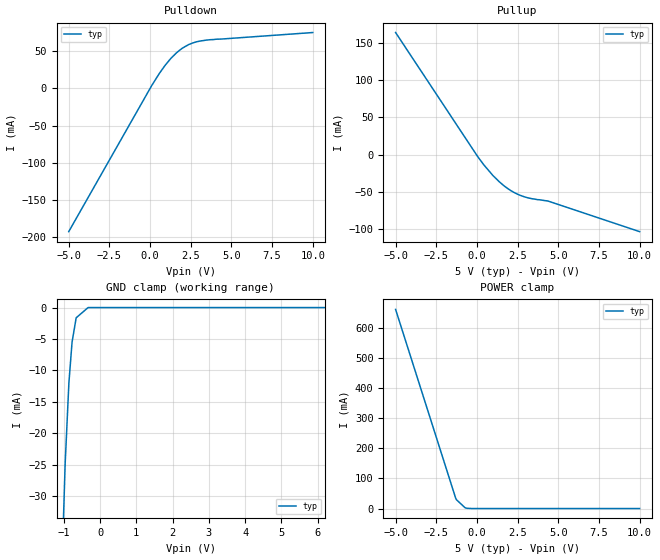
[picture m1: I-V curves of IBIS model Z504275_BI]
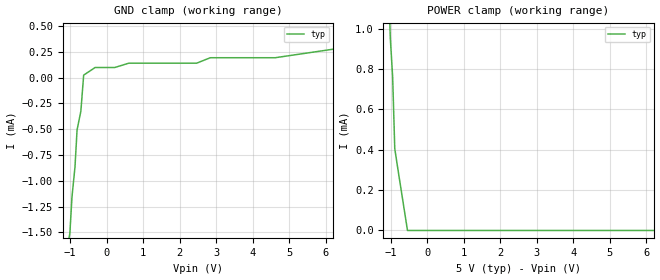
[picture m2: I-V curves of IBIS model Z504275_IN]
| YOU ARE ONLY AUTHORIZED TO USE THIS SOFTWARE
| ACCORDING TO LICENSOR'S LICENSE RESTRICTIONS.
[IBIS Ver] 3.1
[File Name] mc74hc643dw.ibs
[File Rev] 2.0
[Source] Measured and created by ICX Technology
[Date] Friday 7/14/00 9:08:11 AM
[Copyright]
| (C) COPYRIGHT 1993-2000
| MENTOR GRAPHICS CORPORATION
| ICX STANDARD LIBRARY, ICX PROJECT MODELING,
| ICX CUSTOM MODELING, ICX VENDOR MODEL
| ALL RIGHTS RESERVED.
| THE FOLLOWING ARE TRADEMARKS OR SERVICE MARKS OF
| MENTOR GRAPHICS CORPORATION:ICX (R), ICX STANDARD
| LIBRARY(R), ICX PROJECT MODELING(R), ICX CUSTOM
| MODELING(R), qualityIBIS(TM), MODELVIEWER(TM),
| AND MODELEDITOR(TM)
| ALL COPIES OF SOFTWARE, INCLUDING BUT NOT LIMITED TO
| ANY MODIFICATIONS, ENHANCEMENTS OR DERIVATIVE WORKS,
| MUST CONTAIN ALL MENTOR GRAPHICS CORPORATION'S
| NOTICES AND LEGENDS, INCLUDING THOSE EMBEDDED IN
| SOFTWARE AND THOSE AFFIXED TO SOFTWARE MEDIUM
| AND CONTAINER, AS RECEIVED FROM MENTOR GRAPHICS
| CORPORATION.
|  ZAP Model Builder 2.7
[Component] MC74HC643DW
[Manufacturer] OnSemiconductor
[Package]
| variable   typ   min   max
R_pkg  .178ohms NA NA
L_pkg  4.43nH NA NA
C_pkg  .62pF NA NA
[Pin] signal_name  model_name  R_pin  L_pin C_pin
1 DIR Z504275_IN .186 5.37n .68p
2 A0 Z504275_BI .182 4.89n .65p
3 A1 Z504275_BI .178 4.42n .62p
4 A2 Z504275_BI .174 3.96n .59p
5 A3 Z504275_BI .17 3.51n .56p
6 A4 Z504275_BI .17 3.51n .56p
7 A5 Z504275_BI .174 3.96n .59p
8 A6 Z504275_BI .178 4.42n .62p
9 A7 Z504275_BI .182 4.89n .65p
10 GND GND .186 5.37n .68p
11 B7 Z504275_BI .186 5.37n .68p
12 B6 Z504275_BI .182 4.89n .65p
13 B5 Z504275_BI .178 4.42n .62p
14 B4 Z504275_BI .174 3.96n .59p
15 B3 Z504275_BI .17 3.51n .56p
16 B2 Z504275_BI .17 3.51n .56p
17 B1 Z504275_BI .174 3.96n .59p
18 B0 Z504275_BI .178 4.42n .62p
19 _G Z504275_IN .182 4.89n .65p
20 VCC POWER .186 5.37n .68p
| Models and submodels in the file (2): Z504275_BI (I/O), Z504275_IN (Input)
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| (C) COPYRIGHT 1993-2000
| MENTOR GRAPHICS CORPORATION
| ICX STANDARD LIBRARY, ICX PROJECT MODELING,
| ICX CUSTOM MODELING, ICX VENDOR MODEL
| ALL RIGHTS RESERVED.
| THE FOLLOWING ARE TRADEMARKS OR SERVICE MARKS OF
| MENTOR GRAPHICS CORPORATION:ICX (R), ICX STANDARD
| LIBRARY(R), ICX PROJECT MODELING(R), ICX CUSTOM
| MODELING(R), qualityIBIS(TM), MODELVIEWER(TM),
| AND MODELEDITOR(TM)
| ALL COPIES OF SOFTWARE, INCLUDING BUT NOT LIMITED TO
| ANY MODIFICATIONS, ENHANCEMENTS OR DERIVATIVE WORKS,
| MUST CONTAIN ALL MENTOR GRAPHICS CORPORATION'S
| NOTICES AND LEGENDS, INCLUDING THOSE EMBEDDED IN
| SOFTWARE AND THOSE AFFIXED TO SOFTWARE MEDIUM
| AND CONTAINER, AS RECEIVED FROM MENTOR GRAPHICS
| CORPORATION.
| Model Application Version 1.89 2/18/99.
[Model] Z504275_BI
Model_type I/O
Vinl=1.000V
Vinh=3.500V
Vref=0.000V
Rref=500.0Mohms
Cref=50.00pF
Vmeas=2.500V
C_comp 8.000pF NA NA
| variable typ   min   max
[Voltage Range] 5.000V NA NA
[POWER Clamp Reference] 5.000V NA NA
[Pullup Reference] 5.000V NA NA
[Pulldown Reference] 0.000V NA NA
[GND Clamp Reference] 0.000V NA NA
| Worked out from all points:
|   slope of the pulldown table from 0 to 0.75 V, typ, clamps not added: 29.2 ohm
|   slope of the pullup table from 0 to 0.75 V, typ, clamps not added: 35.8 ohm
|   POWER clamp passes 1 mA (typ) near -0.62 V on its own axis
[GND Clamp]
-5V       -773.8mA   NA         NA
-961.8mV  -24.79mA   NA         NA
-859.2mV  -12mA      NA         NA
-771.5mV  -5.484mA   NA         NA
-658.6mV  -1.628mA   NA         NA
-329.3mV  0A         NA         NA
10V       0A         NA         NA
[Pulldown]
-5V       -192.4mA   NA         NA
102.5mV   3.962mA    NA         NA
908.4mV   30.61mA    NA         NA
1.26V     39.98mA    NA         NA
1.826V    51.59mA    NA         NA
2.534V    60.44mA    NA         NA
3.43V     64.93mA    NA         NA
10V       75.18mA    NA         NA
[Pullup]
-5V       163.7mA    NA         NA
40mV      -2.21mA    NA         NA
410mV     -13.1mA    NA         NA
973mV     -27.54mA   NA         NA
1.616V    -40.67mA   NA         NA
2.265V    -50.26mA   NA         NA
2.934V    -56.38mA   NA         NA
4.365V    -61.91mA   NA         NA
10V       -102.9mA   NA         NA
[POWER Clamp]
-5V       662mA      NA         NA
-1.307V   34.3mA     NA         NA
-1.255V   29.05mA    NA         NA
-723mV    2.169mA    NA         NA
-576mV    547.2uA    NA         NA
-288mV    0A         NA         NA
10V       0A         NA         NA
[Ramp]
| variable typ min max
dV/dt_r 2.829/2.527n NA NA
dV/dt_f 2.829/2.631n NA NA
R_load = 500.0Ohms
| (C) COPYRIGHT 1993-2000
| MENTOR GRAPHICS CORPORATION
| ICX STANDARD LIBRARY, ICX PROJECT MODELING,
| ICX CUSTOM MODELING, ICX VENDOR MODEL
| ALL RIGHTS RESERVED.
| THE FOLLOWING ARE TRADEMARKS OR SERVICE MARKS OF
| MENTOR GRAPHICS CORPORATION:ICX (R), ICX STANDARD
| LIBRARY(R), ICX PROJECT MODELING(R), ICX CUSTOM
| MODELING(R), qualityIBIS(TM), MODELVIEWER(TM),
| AND MODELEDITOR(TM)
| ALL COPIES OF SOFTWARE, INCLUDING BUT NOT LIMITED TO
| ANY MODIFICATIONS, ENHANCEMENTS OR DERIVATIVE WORKS,
| MUST CONTAIN ALL MENTOR GRAPHICS CORPORATION'S
| NOTICES AND LEGENDS, INCLUDING THOSE EMBEDDED IN
| SOFTWARE AND THOSE AFFIXED TO SOFTWARE MEDIUM
| AND CONTAINER, AS RECEIVED FROM MENTOR GRAPHICS
| CORPORATION.
| Model Application Version 1.89 2/18/99.
[Model] Z504275_IN
Model_type Input
Vinl = 1.000V
Vinh = 3.500V
C_comp 4.000pF NA NA
| variable typ   min   max
[Voltage Range] 5.000V NA NA
[GND Clamp Reference] 0.000V NA NA
[POWER Clamp Reference] 5.000V NA NA
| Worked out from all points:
|   GND clamp passes 1 mA (typ) near -0.90 V on its own axis
|   POWER clamp passes 1 mA (typ) near -1.02 V on its own axis
[GND Clamp]
-5V       -13.08mA   NA         NA
-1.006V   -1.509mA   NA         NA
-947.5mV  -1.153mA   NA         NA
-865.7mV  -864.6uA   NA         NA
-809.1mV  -507.8uA   NA         NA
-705.3mV  -326.4uA   NA         NA
-628.2mV  24.48uA    NA         NA
-314.1mV  98.18uA    NA         NA
2.466V    140.2uA    NA         NA
2.837V    192.8uA    NA         NA
4.611V    192.8uA    NA         NA
10V       473.6uA    NA         NA
[POWER Clamp]
-5V       28.23mA    NA         NA
-1.089V   1.391mA    NA         NA
-1.011V   955.2uA    NA         NA
-947mV    762.6uA    NA         NA
-889mV    406.3uA    NA         NA
-540.7mV  0A         NA         NA
10V       0A         NA         NA
